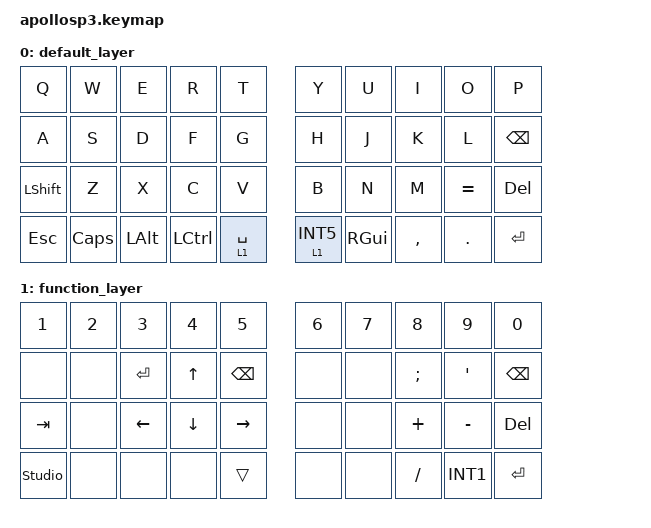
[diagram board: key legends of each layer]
#include <behaviors.dtsi>
#include <dt-bindings/zmk/keys.h>
#include <dt-bindings/zmk/bt.h>
#include <dt-bindings/zmk/outputs.h>


/ {
    // コンボ設定：レイヤー1でQ+W+E同時押し
    combos {
        compatible = "zmk,combos";
        combo_bootloader {
            timeout-ms = <50>;
            key-positions = <0 1 2>; // Q(0), W(1), E(2) のインデックス
            bindings = <&bootloader>;
            layers = <1>; // レヤー1の時のみ有効
        };
    };
};
/ {
    combos {
        compatible = "zmk,combos";
        
        // Q(0) + A(10) で Bluetooth プロファイル 0 (1番目) へ
        combo_bt_sel_0 {
            timeout-ms = <50>;
            key-positions = <0 10>;
            bindings = <&bt BT_SEL 0>;
            layers = <1>;
        };

        // W(1) + S(11) で Bluetooth プロファイル 1 (2番目) へ
        combo_bt_sel_1 {
            timeout-ms = <50>;
            key-positions = <1 11>;
            bindings = <&bt BT_SEL 1>;
            layers = <1>;
        };

        // E(2) + D(12) で Bluetooth プロファイル 2 (3番目) へ
        combo_bt_sel_2 {
            timeout-ms = <50>;
            key-positions = <2 12>;
            bindings = <&bt BT_SEL 2>;
            layers = <1>;
        };

        // T(4) + G(14) + V(24) で 現在のペアリング情報をクリア
        combo_bt_clr {
            timeout-ms = <50>;
            key-positions = <4 14 24>;
            bindings = <&bt BT_CLR>;
            layers = <1>;
        };
    };
};
/ {
    keymap {
        compatible = "zmk,keymap";

// レイヤー0: 基本レイヤー
        default_layer {
            bindings = <
                &kp Q      &kp W      &kp E      &kp R      &kp T          &kp Y       &kp U      &kp I      &kp O      &kp P
                &kp A      &kp S      &kp D      &kp F      &kp G          &kp H       &kp J      &kp K      &kp L      &kp BSPC
                &kp LSHFT  &kp Z      &kp X      &kp C      &kp V          &kp B       &kp N      &kp M      &kp EQUAL  &kp DEL
                &kp ESC    &kp CAPS   &kp LALT   &kp LCTRL  &lt 1 SPACE    &lt 1 INT5  &kp RGUI   &kp COMMA  &kp DOT    &kp ENTER
            >;
        };

        // レイヤー1: 関数レイヤー
        function_layer {
            bindings = <
                &kp N1          &kp N2   &kp N3     &kp N4     &kp N5         &kp N6     &kp N7     &kp N8     &kp N9     &kp N0
                &none           &none    &kp ENTER  &kp UP     &kp BSPC       &none      &none      &kp SEMI   &kp SQT    &kp BSPC
                &kp TAB         &none    &kp LEFT   &kp DOWN   &kp RIGHT      &none      &none      &kp PLUS   &kp MINUS  &kp DEL
                &studio_unlock  &none    &none      &none      &trans         &none      &none      &kp SLASH  &kp INT1   &kp ENTER
            >;
        };
    };
};
